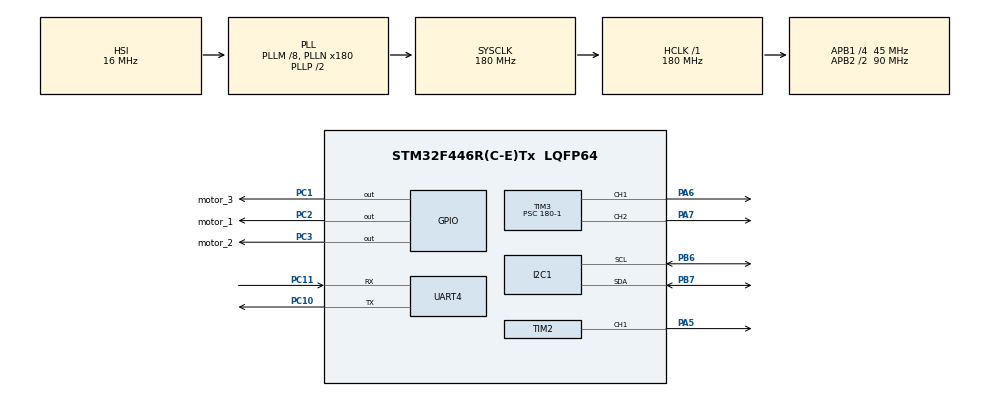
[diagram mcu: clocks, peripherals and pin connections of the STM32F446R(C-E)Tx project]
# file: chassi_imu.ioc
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I2C1.I2C_Mode=I2C_Fast
Mcu.Family=STM32F4
Mcu.Name=STM32F446R(C-E)Tx
Mcu.Package=LQFP64
NVIC.PriorityGroup=NVIC_PRIORITYGROUP_0
NVIC.UART4_IRQn=true\:0\:0\:false\:false\:true\:true\:true\:true
PA5.Signal=S_TIM2_CH1_ETR
PA6.Signal=S_TIM3_CH1
PA7.Signal=S_TIM3_CH2
PB6.Mode=I2C
PB6.Signal=I2C1_SCL
PB7.Mode=I2C
PB7.Signal=I2C1_SDA
PC1.GPIO_Label=motor_3
PC1.Signal=GPIO_Output
PC10.Mode=Asynchronous
PC10.Signal=UART4_TX
PC11.Mode=Asynchronous
PC11.Signal=UART4_RX
PC2.GPIO_Label=motor_1
PC2.Signal=GPIO_Output
PC3.GPIO_Label=motor_2
PC3.Signal=GPIO_Output
ProjectManager.HeapSize=0x200
ProjectManager.StackSize=0x400
ProjectManager.TargetToolchain=STM32CubeIDE
RCC.48MHZClocksFreq_Value=84000000
RCC.AHBFreq_Value=180000000
RCC.APB1CLKDivider=RCC_HCLK_DIV4
RCC.APB1Freq_Value=45000000
RCC.APB1TimFreq_Value=90000000
RCC.APB2CLKDivider=RCC_HCLK_DIV2
RCC.APB2Freq_Value=90000000
RCC.APB2TimFreq_Value=180000000
RCC.CortexFreq_Value=180000000
RCC.FLatency-AdvancedSettings=FLASH_LATENCY_5
RCC.HCLKFreq_Value=180000000
RCC.HSE_VALUE=8000000
RCC.HSI_VALUE=16000000
RCC.PLLM=8
RCC.PLLN=180
RCC.SYSCLKFreq_VALUE=180000000
RCC.SYSCLKSource=RCC_SYSCLKSOURCE_PLLCLK
RCC.USBFreq_Value=180000000
RCC.VCOOutputFreq_Value=360000000
SH.S_TIM2_CH1_ETR.0=TIM2_CH1,PWM Generation1 CH1
SH.S_TIM3_CH1.0=TIM3_CH1,PWM Generation1 CH1
SH.S_TIM3_CH2.0=TIM3_CH2,PWM Generation2 CH2
TIM1.Period=1000-1
TIM1.Prescaler=180-1
TIM2.Channel-PWM\ Generation1\ CH1=TIM_CHANNEL_1
TIM2.Period=1000-1
TIM2.Prescaler=180-1
TIM3.Channel-PWM\ Generation1\ CH1=TIM_CHANNEL_1
TIM3.Channel-PWM\ Generation2\ CH2=TIM_CHANNEL_2
TIM3.Period=1000-1
TIM3.Prescaler=180-1
TIM5.Period=1000-1
TIM5.Prescaler=180-1
UART4.VirtualMode=Asynchronous
VP_TIM1_VS_ClockSourceINT.Mode=Internal
VP_TIM2_VS_ClockSourceINT.Mode=Internal
VP_TIM3_VS_ClockSourceINT.Mode=Internal
VP_TIM5_VS_ClockSourceINT.Mode=Internal
board=NUCLEO-F446RE

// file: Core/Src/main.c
/* USER CODE BEGIN Header */
/**
  ******************************************************************************
  * @file           : main.c
  * @brief          : Main program body
  ******************************************************************************
  * @attention
  *
  * Copyright (c) 2025 STMicroelectronics.
  * All rights reserved.
  *
  * This software is licensed under terms that can be found in the LICENSE file
  * in the root directory of this software component.
  * If no LICENSE file comes with this software, it is provided AS-IS.
  *
  ******************************************************************************
  */
/* USER CODE END Header */
#include "main.h"

/* USER CODE BEGIN Includes */
#include<stdio.h>
#include<inttypes.h>

#include <stdbool.h>

#include "BNO055.h"

/* USER CODE END Includes */

/* USER CODE BEGIN PD */
uint8_t rxbuff[16];

int slow=75;

int fast=500;

int Buff1=30;

int Buff2=-30;

int BuffP=40;

int BuffN=-40;

int32_t lx, ly, rx, ry, cro, squ, tri, cir, up, down, left, right, ll1, rr1, ll2, rr2;
/* USER CODE END PD */

I2C_HandleTypeDef hi2c1;

TIM_HandleTypeDef htim1;
TIM_HandleTypeDef htim2;
TIM_HandleTypeDef htim3;
TIM_HandleTypeDef htim5;

UART_HandleTypeDef huart4;

BNO055_Data_t imu_data;

void SystemClock_Config(void);
static void MX_GPIO_Init(void);
static void MX_TIM2_Init(void);
static void MX_TIM3_Init(void);
static void MX_UART4_Init(void);
static void MX_TIM5_Init(void);
static void MX_TIM1_Init(void);
static void MX_I2C1_Init(void);

/* USER CODE BEGIN 0 */
long map(long x, long in_min, long in_max, long out_min, long out_max)
{
return (x - in_min) * (out_max - out_min) / (in_max - in_min) + out_min;
}
/* USER CODE END 0 */

int main(void)
{

  /* MCU Configuration--------------------------------------------------------*/

  /* Reset of all peripherals, Initializes the Flash interface and the Systick. */
  HAL_Init();

  /* Configure the system clock */
  SystemClock_Config();

  /* Initialize all configured peripherals */
  MX_GPIO_Init();
  MX_TIM2_Init();
  MX_TIM3_Init();
  MX_UART4_Init();
  MX_TIM5_Init();
  MX_TIM1_Init();
  MX_I2C1_Init();
  /* USER CODE BEGIN 2 */
  HAL_UART_Receive(&huart4, rxbuff, 64,500);

   HAL_TIM_PWM_Start(&htim2, TIM_CHANNEL_1);
 //  HAL_TIM_PWM_Start(&htim2, TIM_CHANNEL_2);

   HAL_TIM_PWM_Start(&htim3, TIM_CHANNEL_1);
   HAL_TIM_PWM_Start(&htim3, TIM_CHANNEL_2);
 //  HAL_TIM_PWM_Start(&htim5, TIM_CHANNEL_1);
 //  HAL_TIM_PWM_Start(&htim3, TIM_CHANNEL_1);
 //  HAL_TIM_PWM_Start(&htim3, TIM_CHANNEL_1);
  /* USER CODE END 2 */

  /* Infinite loop */
  while (1)
  {

    /* USER CODE BEGIN 3 */
	  //MAIN CODE

	  	  	HAL_StatusTypeDef status;

	  	  	status=HAL_UART_Receive(&huart4, rxbuff,64,500);

	  	  	if (status == HAL_OK)

	  	  	{

	  	   // Convert the received bytes to signed integers

	  	   lx = (rxbuff[1] & 0x80) ? (int32_t)rxbuff[1] - 256 : (int32_t)rxbuff[1];

	  	   ly = (rxbuff[2] & 0x80) ? (int32_t)rxbuff[2] - 256 : (int32_t)rxbuff[2];

	  	   rx = (rxbuff[3] & 0x80) ? (int32_t)rxbuff[3] - 256 : (int32_t)rxbuff[3];

	  	   ry = (rxbuff[4] & 0x80) ? (int32_t)rxbuff[4] - 256 : (int32_t)rxbuff[4];

	  	   cro= (rxbuff[5] & 0x80) ? (int32_t)rxbuff[5] - 256 : (int32_t)rxbuff[5];
	  //
	  	   squ= (rxbuff[6] & 0x80) ? (int32_t)rxbuff[6] - 256 : (int32_t)rxbuff[6];
	  //
	  //	   tri= (rxbuff[7] & 0x80) ? (int32_t)rxbuff[7] - 256 : (int32_t)rxbuff[7];
	  //
	  //	   cir= (rxbuff[8] & 0x80) ? (int32_t)rxbuff[8] - 256 : (int32_t)rxbuff[8];
	  //
	  //	   up= (rxbuff[9] & 0x80) ? (int32_t)rxbuff[9] - 256 : (int32_t)rxbuff[9];
	  //
	  //	   down= (rxbuff[10] & 0x80) ? (int32_t)rxbuff[10] - 256 : (int32_t)rxbuff[10];
	  //
	  //	   left= (rxbuff[11] & 0x80) ? (int32_t)rxbuff[11] - 256 : (int32_t)rxbuff[11];
	  //
	  //	   right=(rxbuff[12] & 0x80) ? (int32_t)rxbuff[12] - 256 : (int32_t)rxbuff[12];
	  //
	  //	   ll1= (rxbuff[13] & 0x80) ? (int32_t)rxbuff[13] - 256 : (int32_t)rxbuff[13];
	  //
	  //	   ll2= (rxbuff[14] & 0x80) ? (int32_t)rxbuff[14] - 256 : (int32_t)rxbuff[14];
	  //
	  //	   rr1= (rxbuff[15] & 0x80) ? (int32_t)rxbuff[15] - 256 : (int32_t)rxbuff[15];
	  //
	  //	   rr2= (rxbuff[16] & 0x80) ? (int32_t)rxbuff[16] - 256 : (int32_t)rxbuff[16];

	  	   // Print the received values

	  	   printf("Received Integers:\n");

	  	   printf("lx: %ld ", lx);

	  	   printf("ly: %ld ", ly);

	  	   printf("rx: %ld ", rx);

	  	   printf("ry: %ld \n", ry);

	  //
	  	   printf("cro: %ld\n", cro);
	  //
	  	   printf("squ: %ld\n", squ);
	  //
	  //	   printf("tri: %ld\n", tri);
	  //
	  //	   printf("cir: %ld\n", cir);
	  //
	  //
	  //
	  //	   printf("up: %ld\n", up);
	  //
	  //	   printf("down: %ld\n", down);
	  //
	  //	   printf("left: %ld\n", left);
	  //
	  //	   printf("right: %ld\n", right);
	  //
	  //
	  //
	  //	   printf("ll1: %ld\n", ll1);
	  //
	  //	   printf("ll2: %ld\n", ll2);
	  //
	  //	   printf("rr1: %ld\n", rr1);
	  //
	  //	   printf("rr2: %ld\n", rr2);

	  	   }

	  	   else
	  	   {

	  	   ry = 0;

	  	   rx = 0;

	  	   lx = 0;

	  	   ly = 0;

	  	   cro = 0;

	  	   squ = 0;

	  	   tri = 0;

	  	   cir = 0;

	  	   up = 0;

	  	   down = 0;

	  	   left = 0;

	  	   right = 0;

	  	   ll1=0;

	  	   ll2=0;

	  	   rr1=0;

	  	   rr2=0;

	  	   }

	  	  	uint16_t dutycycle;

	  	  	//stop
	  	  	if(ly>=Buff2 && ly<=Buff1 && lx>=Buff2 && lx<=Buff1 && rx>=Buff2 && rx<=Buff1){

	  			//motor 1
	  		   HAL_GPIO_WritePin(motor_1_GPIO_Port, motor_1_Pin, RESET);
	  		   __HAL_TIM_SET_COMPARE(&htim3,TIM_CHANNEL_2, 0);

	  		   //motor 2
	  		   HAL_GPIO_WritePin(motor_2_GPIO_Port, motor_2_Pin, RESET);
	  		   __HAL_TIM_SET_COMPARE(&htim2,TIM_CHANNEL_1, 0);

	  		   //motor 3
	  		   HAL_GPIO_WritePin(motor_3_GPIO_Port, motor_3_Pin, RESET);
	  		   __HAL_TIM_SET_COMPARE(&htim3,TIM_CHANNEL_1, 0);

	  	  	}

	  	  	//forward
	  	  	else if( ly>=Buff1 && (lx<=BuffP && lx>=BuffN) ){

	  //	  		long map(long x, long in_min, long in_max, long out_min, long out_max)
	  //	  		{
	  //	  		return (x - in_min) * (out_max - out_min) / (in_max - in_min) + out_min;
	  //	  		}
	  	  		dutycycle=map(ly,Buff1,127,0,fast);
	  //	  		int slow=75;
	  //	  		int fast=400;
	  //	  		int Buff1=20;
	  //	  		int Buff2=-20;
	  //	  		int BuffP=40;
	  //	  		int BuffN=-40;

	  	  		//motor 1
	  	  		HAL_GPIO_WritePin(motor_1_GPIO_Port, motor_1_Pin, RESET);
	  		   __HAL_TIM_SET_COMPARE(&htim3,TIM_CHANNEL_2, 0);

	  		   //motor 2
	  		   HAL_GPIO_WritePin(motor_2_GPIO_Port, motor_2_Pin, RESET);
	  		   __HAL_TIM_SET_COMPARE(&htim2,TIM_CHANNEL_1, dutycycle);

	  		   //motor 3
	  		   HAL_GPIO_WritePin(motor_3_GPIO_Port, motor_3_Pin, RESET);
	  		   __HAL_TIM_SET_COMPARE(&htim3,TIM_CHANNEL_1, dutycycle);

	  	  	}
	  	  	//backward
	  	  	else if(ly<=Buff2 && (lx<=BuffP && lx>=BuffN) )

	  	   {

	  			 dutycycle=map(ly,-128,Buff2,fast,0);

	  			 //motor 1
	  			   HAL_GPIO_WritePin(motor_1_GPIO_Port, motor_1_Pin, SET);
	  			   __HAL_TIM_SET_COMPARE(&htim3,TIM_CHANNEL_2, 0);

	  			   //motor 2
	  			   HAL_GPIO_WritePin(motor_2_GPIO_Port, motor_2_Pin, SET);
	  			   __HAL_TIM_SET_COMPARE(&htim2,TIM_CHANNEL_1, dutycycle);

	  			   //motor 3
	  			   HAL_GPIO_WritePin(motor_3_GPIO_Port, motor_3_Pin, RESET);
	  			   __HAL_TIM_SET_COMPARE(&htim3,TIM_CHANNEL_1, dutycycle);

	  	   }

	  	  	//RIGHT
	  	  	else if(lx>=Buff1 && (ly<=BuffP && ly>=BuffN))

	  	   {

	  	  		dutycycle=map(lx,Buff1,127,0,fast);

	  	  		//motor 1
	  	  		HAL_GPIO_WritePin(motor_1_GPIO_Port, motor_1_Pin, SET);
	  		   __HAL_TIM_SET_COMPARE(&htim3,TIM_CHANNEL_2, dutycycle);

	  		   //motor 2
	  		   HAL_GPIO_WritePin(motor_2_GPIO_Port, motor_2_Pin, RESET);
	  		   __HAL_TIM_SET_COMPARE(&htim2,TIM_CHANNEL_1, (0.86 * dutycycle));

	  		   //motor 3
	  		   HAL_GPIO_WritePin(motor_3_GPIO_Port, motor_3_Pin, RESET);
	  		   __HAL_TIM_SET_COMPARE(&htim3,TIM_CHANNEL_1, (0.86 * dutycycle));

	  	   }
	  	  	//left

	  	  	else if(lx<=Buff2 && (ly<=BuffP && ly>=BuffN) )

	  	   {

	  	  		dutycycle=map(lx,-128,Buff2,fast,0);
	  	  		//motor 1
	  	  		HAL_GPIO_WritePin(motor_1_GPIO_Port, motor_1_Pin, RESET);
	  		   __HAL_TIM_SET_COMPARE(&htim3,TIM_CHANNEL_2, dutycycle);

	  		   //motor 2
	  		   HAL_GPIO_WritePin(motor_2_GPIO_Port, motor_2_Pin, SET);
	  		   __HAL_TIM_SET_COMPARE(&htim2,TIM_CHANNEL_1, (0.86 * dutycycle));

	  		   //motor 3
	  		   HAL_GPIO_WritePin(motor_3_GPIO_Port, motor_3_Pin, SET);
	  		   __HAL_TIM_SET_COMPARE(&htim3,TIM_CHANNEL_1, (0.86 * dutycycle));

	  	   }

	  	  //top-right
	  	    else if(lx>70 && ly>70)
	  	  	  	  	{

	  	  	  	  		dutycycle=map(rx,-128,Buff2,400,0);

	  	  	  	  		//motor 1
	  	  	  	  		HAL_GPIO_WritePin(motor_1_GPIO_Port, motor_1_Pin, SET);
	  	  	  		   __HAL_TIM_SET_COMPARE(&htim3,TIM_CHANNEL_2, dutycycle);

	  	  	  		   //motor 2
	  	  	  		   HAL_GPIO_WritePin(motor_2_GPIO_Port, motor_2_Pin, RESET);
	  	  	  		   __HAL_TIM_SET_COMPARE(&htim2,TIM_CHANNEL_1, dutycycle);

	  	  	  		   //motor 3
	  	  	  		   HAL_GPIO_WritePin(motor_3_GPIO_Port, motor_3_Pin, SET);
	  	  	  		   __HAL_TIM_SET_COMPARE(&htim3,TIM_CHANNEL_1, 0);

	  	  	  	   }
	  	  	//top-left
	  	  else if(lx < -70 && ly > 70)
	  		  	  	{

	  		  	  		dutycycle=map(rx,-128,Buff2,400,0);

	  		  	  		//motor 1
	  		  	  		HAL_GPIO_WritePin(motor_1_GPIO_Port, motor_1_Pin, RESET);
	  		  		   __HAL_TIM_SET_COMPARE(&htim3,TIM_CHANNEL_2, dutycycle);

	  		  		   //motor 2
	  		  		   HAL_GPIO_WritePin(motor_2_GPIO_Port, motor_2_Pin, SET);
	  		  		   __HAL_TIM_SET_COMPARE(&htim2,TIM_CHANNEL_1, 0);

	  		  		   //motor 3
	  		  		   HAL_GPIO_WritePin(motor_3_GPIO_Port, motor_3_Pin, SET);
	  		  		   __HAL_TIM_SET_COMPARE(&htim3,TIM_CHANNEL_1, dutycycle);

	  		  	   }
	  	  //bottom-right
	  	    else if(lx > 70 && ly < -70)
	  		  	  	{

	  		  	  		dutycycle=map(rx,-128,Buff2,400,0);

	  		  	  		//motor 1
	  		  	  		HAL_GPIO_WritePin(motor_1_GPIO_Port, motor_1_Pin, SET);
	  		  		   __HAL_TIM_SET_COMPARE(&htim3,TIM_CHANNEL_2, dutycycle);

	  		  		   //motor 2
	  		  		   HAL_GPIO_WritePin(motor_2_GPIO_Port, motor_2_Pin, RESET);
	  		  		   __HAL_TIM_SET_COMPARE(&htim2,TIM_CHANNEL_1, 0);

	  		  		   //motor 3
	  		  		   HAL_GPIO_WritePin(motor_3_GPIO_Port, motor_3_Pin, RESET);
	  		  		   __HAL_TIM_SET_COMPARE(&htim3,TIM_CHANNEL_1, dutycycle);

	  		  	   }
	  	  //bottom-left
	  	    else if(lx < -70 && ly < -70)
	  		  	  	{

	  		  	  		dutycycle=map(rx,-128,Buff2,400,0);

	  		  	  		//motor 1
	  		  	  		HAL_GPIO_WritePin(motor_1_GPIO_Port, motor_1_Pin, RESET);
	  		  		   __HAL_TIM_SET_COMPARE(&htim3,TIM_CHANNEL_2, dutycycle);

	  		  		   //motor 2
	  		  		   HAL_GPIO_WritePin(motor_2_GPIO_Port, motor_2_Pin, SET);
	  		  		   __HAL_TIM_SET_COMPARE(&htim2,TIM_CHANNEL_1, dutycycle);

	  		  		   //motor 3
	  		  		   HAL_GPIO_WritePin(motor_3_GPIO_Port, motor_3_Pin, SET);
	  		  		   __HAL_TIM_SET_COMPARE(&htim3,TIM_CHANNEL_1, 0);

	  		  	   }

	  	  	//ANTICLOCKWISE
	  	  	else if(rx<=Buff2 && (ry<=BuffP && ry>=BuffN) )
	  	  	{

	  	  		dutycycle=map(rx,-128,Buff2,400,0);

	  	  		//motor 1
	  	  		HAL_GPIO_WritePin(motor_1_GPIO_Port, motor_1_Pin, RESET);
	  		   __HAL_TIM_SET_COMPARE(&htim3,TIM_CHANNEL_2, dutycycle);

	  		   //motor 2
	  		   HAL_GPIO_WritePin(motor_2_GPIO_Port, motor_2_Pin, RESET);
	  		   __HAL_TIM_SET_COMPARE(&htim2,TIM_CHANNEL_1, dutycycle);

	  		   //motor 3
	  		   HAL_GPIO_WritePin(motor_3_GPIO_Port, motor_3_Pin, RESET);
	  		   __HAL_TIM_SET_COMPARE(&htim3,TIM_CHANNEL_1, dutycycle);

	  	   }
	  	  //CLOCKWISE
	  	  	  	  	else if(rx>=Buff1 && (ry<=BuffP && ry>=BuffN) )
	  	  	  	  	{

	  	  	  	  		dutycycle=map(rx,Buff1,127,0,400);
	  	  	  	  		//motor 1
	  	  	  	  		HAL_GPIO_WritePin(motor_1_GPIO_Port, motor_1_Pin, SET);
	  	  	  		   __HAL_TIM_SET_COMPARE(&htim3,TIM_CHANNEL_2, dutycycle);

	  	  	  		   //motor 2
	  	  	  		   HAL_GPIO_WritePin(motor_2_GPIO_Port, motor_2_Pin, SET);
	  	  	  		   __HAL_TIM_SET_COMPARE(&htim2,TIM_CHANNEL_1, dutycycle);

	  	  	  		   //motor 3
	  	  	  		   HAL_GPIO_WritePin(motor_3_GPIO_Port, motor_3_Pin, SET);
	  	  	  		   __HAL_TIM_SET_COMPARE(&htim3,TIM_CHANNEL_1, dutycycle);

	  	  	  	   }

	  	  if (BNO055_GetAllData(&hi2c1, &imu_data) == HAL_OK) {
//	  	  	  		   Print accelerometer data (m/s^2)
	  	  	  		  printf("Accel: X=%.2f, Y=%.2f, Z=%.2f m/s^2\n",
	  	  	  				 imu_data.accel_x, imu_data.accel_y, imu_data.accel_z);

//	  	  	  		   Print gyroscope data (degrees/s)
	  	  	  		  printf("Gyro: X=%.2f, Y=%.2f, Z=%.2f deg/s\n",
	  	  	  				 imu_data.gyro_x, imu_data.gyro_y, imu_data.gyro_z);
	  	  	  		  printf("\n\n");
//	  	  	  		   Print orientation data
	  	  	  		  printf("Euler: Yaw=%.2f, Roll=%.2f, Pitch=%.2f deg\n",
	  	  	  				 imu_data.euler_h, imu_data.euler_r, imu_data.euler_p);
	  	  	  		  printf("\n\n");
	  	  	  	  }

	  	  	  	  HAL_Delay(100); // Read at 10Hz
	  	  	  HAL_Delay(10);
  }
  /* USER CODE END 3 */
}

void SystemClock_Config(void)
{
  RCC_OscInitTypeDef RCC_OscInitStruct = {0};
  RCC_ClkInitTypeDef RCC_ClkInitStruct = {0};

  /** Configure the main internal regulator output voltage
  */
  __HAL_RCC_PWR_CLK_ENABLE();
  __HAL_PWR_VOLTAGESCALING_CONFIG(PWR_REGULATOR_VOLTAGE_SCALE1);

  /** Initializes the RCC Oscillators according to the specified parameters
  * in the RCC_OscInitTypeDef structure.
  */
  RCC_OscInitStruct.OscillatorType = RCC_OSCILLATORTYPE_HSI;
  RCC_OscInitStruct.HSIState = RCC_HSI_ON;
  RCC_OscInitStruct.HSICalibrationValue = RCC_HSICALIBRATION_DEFAULT;
  RCC_OscInitStruct.PLL.PLLState = RCC_PLL_ON;
  RCC_OscInitStruct.PLL.PLLSource = RCC_PLLSOURCE_HSI;
  RCC_OscInitStruct.PLL.PLLM = 8;
  RCC_OscInitStruct.PLL.PLLN = 180;
  RCC_OscInitStruct.PLL.PLLP = RCC_PLLP_DIV2;
  RCC_OscInitStruct.PLL.PLLQ = 2;
  RCC_OscInitStruct.PLL.PLLR = 2;
  if (HAL_RCC_OscConfig(&RCC_OscInitStruct) != HAL_OK)
  {
    Error_Handler();
  }

  /** Activate the Over-Drive mode
  */
  if (HAL_PWREx_EnableOverDrive() != HAL_OK)
  {
    Error_Handler();
  }

  /** Initializes the CPU, AHB and APB buses clocks
  */
  RCC_ClkInitStruct.ClockType = RCC_CLOCKTYPE_HCLK|RCC_CLOCKTYPE_SYSCLK
                              |RCC_CLOCKTYPE_PCLK1|RCC_CLOCKTYPE_PCLK2;
  RCC_ClkInitStruct.SYSCLKSource = RCC_SYSCLKSOURCE_PLLCLK;
  RCC_ClkInitStruct.AHBCLKDivider = RCC_SYSCLK_DIV1;
  RCC_ClkInitStruct.APB1CLKDivider = RCC_HCLK_DIV4;
  RCC_ClkInitStruct.APB2CLKDivider = RCC_HCLK_DIV2;

  if (HAL_RCC_ClockConfig(&RCC_ClkInitStruct, FLASH_LATENCY_5) != HAL_OK)
  {
    Error_Handler();
  }
}

static void MX_I2C1_Init(void)
{

  hi2c1.Instance = I2C1;
  hi2c1.Init.ClockSpeed = 400000;
  hi2c1.Init.DutyCycle = I2C_DUTYCYCLE_2;
  hi2c1.Init.OwnAddress1 = 0;
  hi2c1.Init.AddressingMode = I2C_ADDRESSINGMODE_7BIT;
  hi2c1.Init.DualAddressMode = I2C_DUALADDRESS_DISABLE;
  hi2c1.Init.OwnAddress2 = 0;
  hi2c1.Init.GeneralCallMode = I2C_GENERALCALL_DISABLE;
  hi2c1.Init.NoStretchMode = I2C_NOSTRETCH_DISABLE;
  if (HAL_I2C_Init(&hi2c1) != HAL_OK)
  {
    Error_Handler();
  }

}

static void MX_TIM1_Init(void)
{

  TIM_ClockConfigTypeDef sClockSourceConfig = {0};
  TIM_MasterConfigTypeDef sMasterConfig = {0};

  htim1.Instance = TIM1;
  htim1.Init.Prescaler = 180-1;
  htim1.Init.CounterMode = TIM_COUNTERMODE_UP;
  htim1.Init.Period = 1000-1;
  htim1.Init.ClockDivision = TIM_CLOCKDIVISION_DIV1;
  htim1.Init.RepetitionCounter = 0;
  htim1.Init.AutoReloadPreload = TIM_AUTORELOAD_PRELOAD_DISABLE;
  if (HAL_TIM_Base_Init(&htim1) != HAL_OK)
  {
    Error_Handler();
  }
  sClockSourceConfig.ClockSource = TIM_CLOCKSOURCE_INTERNAL;
  if (HAL_TIM_ConfigClockSource(&htim1, &sClockSourceConfig) != HAL_OK)
  {
    Error_Handler();
  }
  sMasterConfig.MasterOutputTrigger = TIM_TRGO_RESET;
  sMasterConfig.MasterSlaveMode = TIM_MASTERSLAVEMODE_DISABLE;
  if (HAL_TIMEx_MasterConfigSynchronization(&htim1, &sMasterConfig) != HAL_OK)
  {
    Error_Handler();
  }

}

static void MX_TIM2_Init(void)
{

  TIM_ClockConfigTypeDef sClockSourceConfig = {0};
  TIM_MasterConfigTypeDef sMasterConfig = {0};
  TIM_OC_InitTypeDef sConfigOC = {0};

  htim2.Instance = TIM2;
  htim2.Init.Prescaler = 180-1;
  htim2.Init.CounterMode = TIM_COUNTERMODE_UP;
  htim2.Init.Period = 1000-1;
  htim2.Init.ClockDivision = TIM_CLOCKDIVISION_DIV1;
  htim2.Init.AutoReloadPreload = TIM_AUTORELOAD_PRELOAD_DISABLE;
  if (HAL_TIM_Base_Init(&htim2) != HAL_OK)
  {
    Error_Handler();
  }
  sClockSourceConfig.ClockSource = TIM_CLOCKSOURCE_INTERNAL;
  if (HAL_TIM_ConfigClockSource(&htim2, &sClockSourceConfig) != HAL_OK)
  {
    Error_Handler();
  }
  if (HAL_TIM_PWM_Init(&htim2) != HAL_OK)
  {
    Error_Handler();
  }
  sMasterConfig.MasterOutputTrigger = TIM_TRGO_RESET;
  sMasterConfig.MasterSlaveMode = TIM_MASTERSLAVEMODE_DISABLE;
  if (HAL_TIMEx_MasterConfigSynchronization(&htim2, &sMasterConfig) != HAL_OK)
  {
    Error_Handler();
  }
  sConfigOC.OCMode = TIM_OCMODE_PWM1;
  sConfigOC.Pulse = 0;
  sConfigOC.OCPolarity = TIM_OCPOLARITY_HIGH;
  sConfigOC.OCFastMode = TIM_OCFAST_DISABLE;
  if (HAL_TIM_PWM_ConfigChannel(&htim2, &sConfigOC, TIM_CHANNEL_1) != HAL_OK)
  {
    Error_Handler();
  }
  HAL_TIM_MspPostInit(&htim2);

}

static void MX_TIM3_Init(void)
{

  TIM_ClockConfigTypeDef sClockSourceConfig = {0};
  TIM_MasterConfigTypeDef sMasterConfig = {0};
  TIM_OC_InitTypeDef sConfigOC = {0};

  htim3.Instance = TIM3;
  htim3.Init.Prescaler = 180-1;
  htim3.Init.CounterMode = TIM_COUNTERMODE_UP;
  htim3.Init.Period = 1000-1;
  htim3.Init.ClockDivision = TIM_CLOCKDIVISION_DIV1;
  htim3.Init.AutoReloadPreload = TIM_AUTORELOAD_PRELOAD_DISABLE;
  if (HAL_TIM_Base_Init(&htim3) != HAL_OK)
  {
    Error_Handler();
  }
  sClockSourceConfig.ClockSource = TIM_CLOCKSOURCE_INTERNAL;
  if (HAL_TIM_ConfigClockSource(&htim3, &sClockSourceConfig) != HAL_OK)
  {
    Error_Handler();
  }
  if (HAL_TIM_PWM_Init(&htim3) != HAL_OK)
  {
    Error_Handler();
  }
  sMasterConfig.MasterOutputTrigger = TIM_TRGO_RESET;
  sMasterConfig.MasterSlaveMode = TIM_MASTERSLAVEMODE_DISABLE;
  if (HAL_TIMEx_MasterConfigSynchronization(&htim3, &sMasterConfig) != HAL_OK)
  {
    Error_Handler();
  }
  sConfigOC.OCMode = TIM_OCMODE_PWM1;
  sConfigOC.Pulse = 0;
  sConfigOC.OCPolarity = TIM_OCPOLARITY_HIGH;
  sConfigOC.OCFastMode = TIM_OCFAST_DISABLE;
  if (HAL_TIM_PWM_ConfigChannel(&htim3, &sConfigOC, TIM_CHANNEL_1) != HAL_OK)
  {
    Error_Handler();
  }
  if (HAL_TIM_PWM_ConfigChannel(&htim3, &sConfigOC, TIM_CHANNEL_2) != HAL_OK)
  {
    Error_Handler();
  }
  HAL_TIM_MspPostInit(&htim3);

}

static void MX_TIM5_Init(void)
{

  TIM_ClockConfigTypeDef sClockSourceConfig = {0};
  TIM_MasterConfigTypeDef sMasterConfig = {0};

  htim5.Instance = TIM5;
  htim5.Init.Prescaler = 180-1;
  htim5.Init.CounterMode = TIM_COUNTERMODE_UP;
  htim5.Init.Period = 1000-1;
  htim5.Init.ClockDivision = TIM_CLOCKDIVISION_DIV1;
  htim5.Init.AutoReloadPreload = TIM_AUTORELOAD_PRELOAD_DISABLE;
  if (HAL_TIM_Base_Init(&htim5) != HAL_OK)
  {
    Error_Handler();
  }
  sClockSourceConfig.ClockSource = TIM_CLOCKSOURCE_INTERNAL;
  if (HAL_TIM_ConfigClockSource(&htim5, &sClockSourceConfig) != HAL_OK)
  {
    Error_Handler();
  }
  sMasterConfig.MasterOutputTrigger = TIM_TRGO_RESET;
  sMasterConfig.MasterSlaveMode = TIM_MASTERSLAVEMODE_DISABLE;
  if (HAL_TIMEx_MasterConfigSynchronization(&htim5, &sMasterConfig) != HAL_OK)
  {
    Error_Handler();
  }

}

static void MX_UART4_Init(void)
{

  huart4.Instance = UART4;
  huart4.Init.BaudRate = 115200;
  huart4.Init.WordLength = UART_WORDLENGTH_8B;
  huart4.Init.StopBits = UART_STOPBITS_1;
  huart4.Init.Parity = UART_PARITY_NONE;
  huart4.Init.Mode = UART_MODE_TX_RX;
  huart4.Init.HwFlowCtl = UART_HWCONTROL_NONE;
  huart4.Init.OverSampling = UART_OVERSAMPLING_16;
  if (HAL_UART_Init(&huart4) != HAL_OK)
  {
    Error_Handler();
  }

}

static void MX_GPIO_Init(void)
{
  GPIO_InitTypeDef GPIO_InitStruct = {0};

  /* GPIO Ports Clock Enable */
  __HAL_RCC_GPIOC_CLK_ENABLE();
  __HAL_RCC_GPIOA_CLK_ENABLE();
  __HAL_RCC_GPIOB_CLK_ENABLE();

  /*Configure GPIO pin Output Level */
  HAL_GPIO_WritePin(GPIOC, motor_3_Pin|motor_1_Pin|motor_2_Pin, GPIO_PIN_RESET);

  /*Configure GPIO pins : motor_3_Pin motor_1_Pin motor_2_Pin */
  GPIO_InitStruct.Pin = motor_3_Pin|motor_1_Pin|motor_2_Pin;
  GPIO_InitStruct.Mode = GPIO_MODE_OUTPUT_PP;
  GPIO_InitStruct.Pull = GPIO_NOPULL;
  GPIO_InitStruct.Speed = GPIO_SPEED_FREQ_LOW;
  HAL_GPIO_Init(GPIOC, &GPIO_InitStruct);

}

void Error_Handler(void)
{
  __disable_irq();
  while (1)
  {
  }
}
